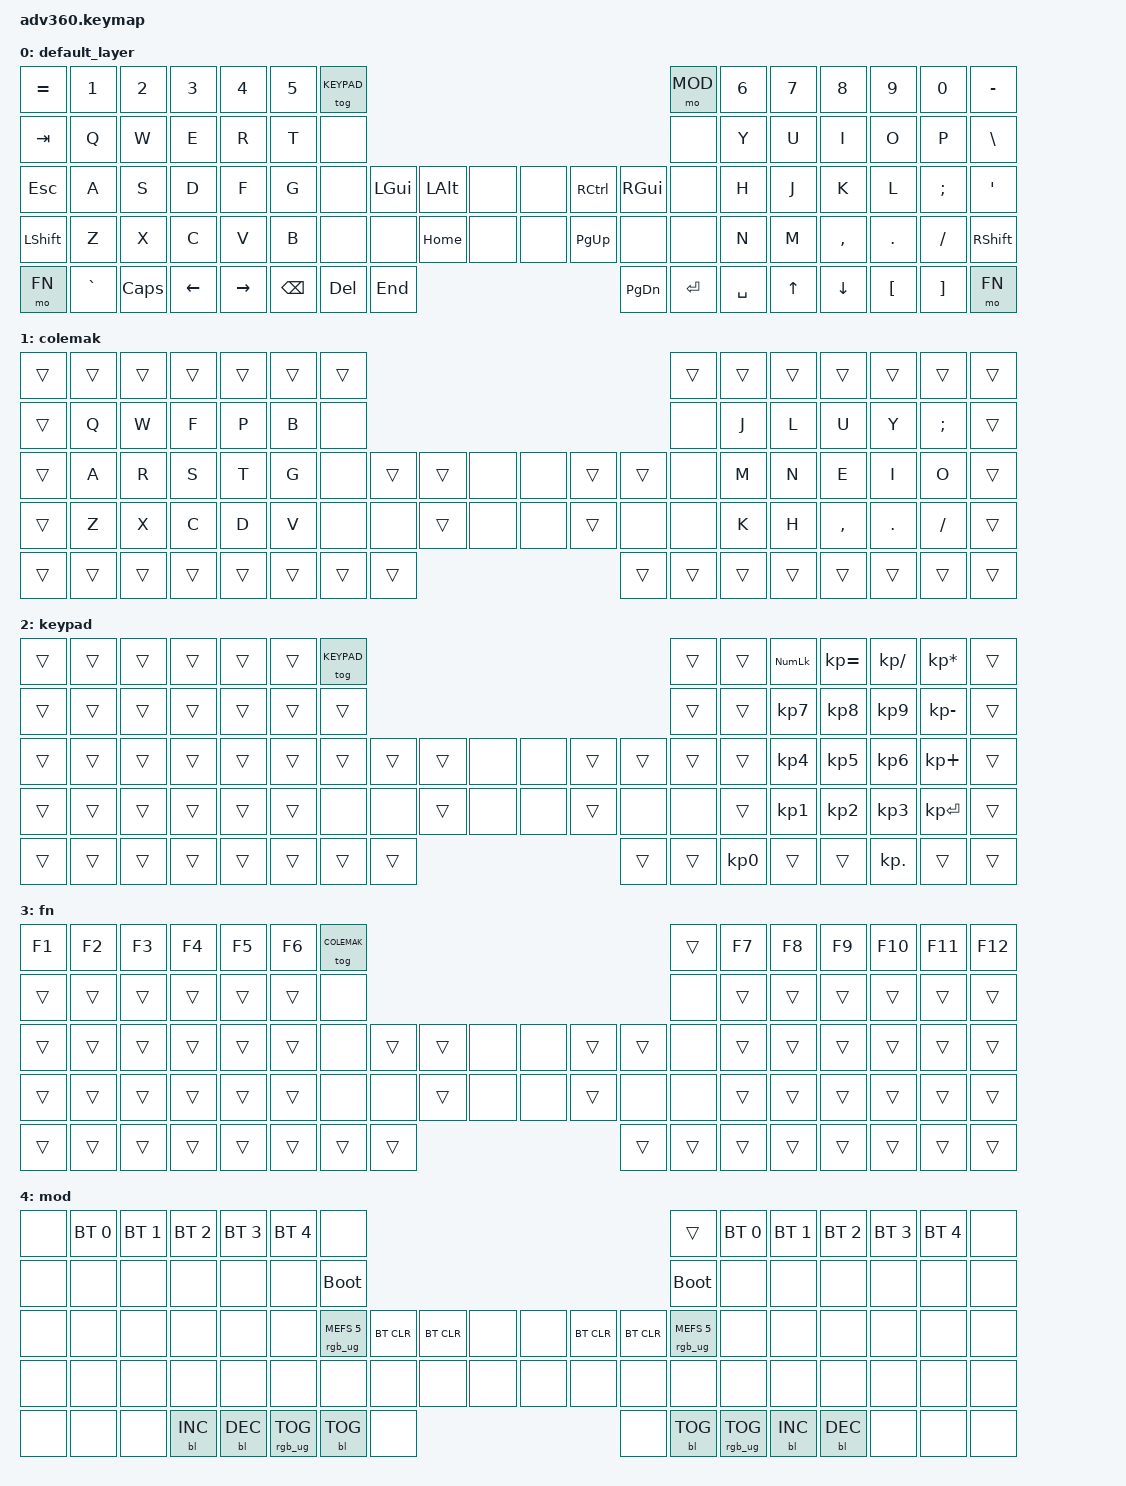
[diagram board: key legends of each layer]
#include <behaviors.dtsi>
#include <dt-bindings/zmk/keys.h>
#include <dt-bindings/zmk/bt.h>
#include <dt-bindings/zmk/rgb.h>
#include <dt-bindings/zmk/backlight.h>

/ {
    behaviors {
      #include "macros.dtsi"

      hm: homerow_mods {
          compatible = "zmk,behavior-hold-tap";
          label = "HOMEROW_MODS";
          #binding-cells = <2>;
          tapping-term-ms = <200>;
          quick_tap_ms = <175>;
          flavor = "tap-preferred";
          bindings = <&kp>, <&kp>;
      };
    };

  keymap {
    compatible = "zmk,keymap";

    #define DEFAULT 0
    #define COLEMAK 1
    #define KEYPAD  2
    #define FN      3
    #define MOD     4

    default_layer {
      bindings = <
        &kp EQUAL &kp N1    &kp N2   &kp N3   &kp N4     &kp N5 &tog KEYPAD                                                                  &mo MOD &kp N6 &kp N7 &kp N8    &kp N9   &kp N0   &kp MINUS
        &kp TAB   &kp Q     &kp W    &kp E    &kp R      &kp T  &none                                                                        &none   &kp Y  &kp U  &kp I     &kp O    &kp P    &kp BSLH
        &kp ESC   &kp A     &kp S    &kp D    &kp F      &kp G  &none           &kp LGUI  &kp LALT &none &none &kp RCTRL &kp RGUI            &none   &kp H  &kp J  &kp K     &kp L    &kp SEMI &kp SQT
        &kp LSHFT &kp Z     &kp X    &kp C    &kp V      &kp B         &none    &none     &kp HOME &none &none &kp PG_UP &none     &none             &kp N  &kp M  &kp COMMA &kp DOT  &kp FSLH &kp RSHFT
        &mo FN    &kp GRAVE &kp CAPS &kp LEFT &kp RIGHT                &kp BSPC &kp DEL   &kp END              &kp PG_DN &kp ENTER &kp SPACE                &kp UP &kp DOWN  &kp LBKT &kp RBKT &mo FN
      >;
    };

    colemak {
      bindings = <
        &trans    &trans    &trans   &trans   &trans     &trans &trans                                                                       &trans  &trans &trans &trans    &trans   &trans   &trans
        &trans    &kp Q     &kp W    &kp F    &kp P      &kp B  &none                                                                        &none   &kp J  &kp L  &kp U     &kp Y    &kp SEMI &trans
        &trans    &kp A     &kp R    &kp S    &kp T      &kp G  &none           &trans    &trans   &none &none &trans    &trans              &none   &kp M  &kp N  &kp E     &kp I    &kp O    &trans
        &trans    &kp Z     &kp X    &kp C    &kp D      &kp V         &none    &none     &trans   &none &none &trans    &none     &none             &kp K  &kp H  &kp COMMA &kp DOT  &kp FSLH &trans
        &trans    &trans    &trans   &trans   &trans                   &trans   &trans    &trans               &trans    &trans    &trans                   &trans &trans    &trans   &trans   &trans
      >;
    };

    keypad {
      bindings = <
        &trans    &trans    &trans   &trans   &trans     &trans &tog KEYPAD                                                                  &trans &trans &kp KP_NUM &kp KP_EQUAL &kp KP_DIVIDE &kp KP_MULTIPLY &trans
        &trans    &trans    &trans   &trans   &trans     &trans &trans                                                                       &trans &trans &kp KP_N7  &kp KP_N8    &kp KP_N9     &kp KP_MINUS    &trans
        &trans    &trans    &trans   &trans   &trans     &trans &trans          &trans    &trans   &none &none &trans    &trans              &trans &trans &kp KP_N4  &kp KP_N5    &kp KP_N6     &kp KP_PLUS     &trans
        &trans    &trans    &trans   &trans   &trans     &trans        &none    &none     &trans   &none &none &trans    &none     &none            &trans &kp KP_N1  &kp KP_N2    &kp KP_N3     &kp KP_ENTER    &trans
        &trans    &trans    &trans   &trans   &trans                   &trans   &trans    &trans               &trans    &trans    &kp KP_N0               &trans     &trans       &kp KP_DOT    &trans          &trans
      >;
    };

    fn {
      bindings = <
        &kp F1 &kp F2 &kp F3 &kp F4 &kp F5 &kp F6  &tog COLEMAK                                                &trans &kp F7 &kp F8 &kp F9 &kp F10 &kp F11 &kp F12
        &trans &trans &trans &trans &trans &trans  &none                                                       &none  &trans &trans &trans &trans  &trans  &trans
        &trans &trans &trans &trans &trans &trans  &none        &trans &trans &none &none &trans &trans        &none  &trans &trans &trans &trans  &trans  &trans
        &trans &trans &trans &trans &trans &trans        &none  &none  &trans &none &none &trans &none  &none         &trans &trans &trans &trans  &trans  &trans
        &trans &trans &trans &trans &trans               &trans &trans &trans             &trans &trans &trans               &trans &trans &trans  &trans  &trans
      >;
    };

    mod {
      bindings = <
        &none &bt BT_SEL 0 &bt BT_SEL 1 &bt BT_SEL 2 &bt BT_SEL 3 &bt BT_SEL 4 &none                                                                                                          &trans                 &bt BT_SEL 0 &bt BT_SEL 1 &bt BT_SEL 2 &bt BT_SEL 3 &bt BT_SEL 4 &none
        &none &none        &none        &none        &none        &none        &bootloader                                                                                                    &bootloader            &none        &none        &none        &none        &none        &none
        &none &none        &none        &none        &none        &none        &rgb_ug RGB_MEFS_CMD 5                 &bt BT_CLR &bt BT_CLR &none &none &bt BT_CLR &bt BT_CLR                 &rgb_ug RGB_MEFS_CMD 5 &none        &none        &none        &none        &none        &none
        &none &none        &none        &none        &none        &none                               &none           &none      &none      &none &none &none      &none      &none                                  &none        &none        &none        &none        &none        &none
        &none &none        &none        &bl BL_INC   &bl BL_DEC                                       &rgb_ug RGB_TOG &bl BL_TOG &none                  &none      &bl BL_TOG &rgb_ug RGB_TOG                                     &bl BL_INC   &bl BL_DEC   &none        &none        &none
      >;
    };
  };
};
